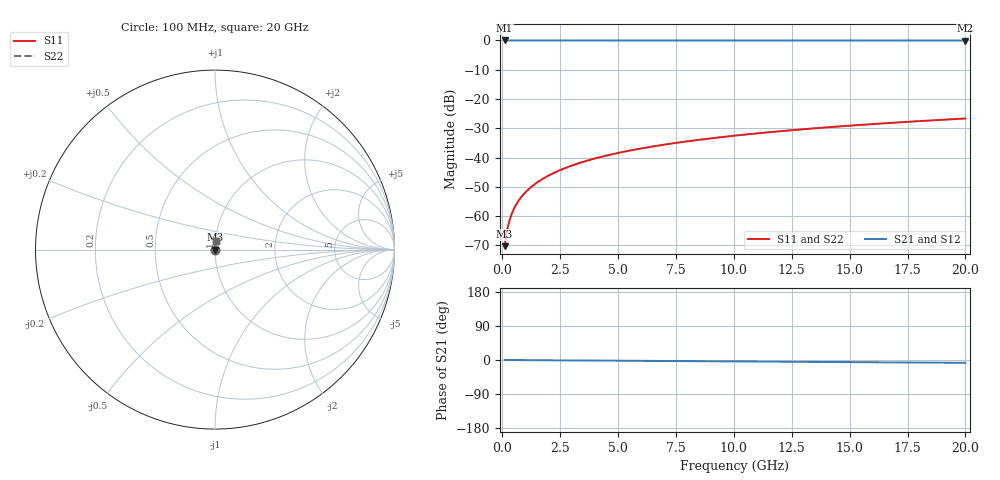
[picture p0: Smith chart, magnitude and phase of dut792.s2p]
! Touchstone file exported from HFSS 2026.1.0
!  File:  C:/ffzhzh/LocalFiles/Ansys_Project_Files/temp_train_TSV_792_1783183902_22436.aedt
!  Generated:  12:53:15 AM Jul  5, 2026
!  Design:  TSV
!  Project:  temp_train_TSV_792_1783183902_22436
! Variables:
!  h_bsmrdl = 2um
!  h_ox = 20um
!  h_rdl = 5um
!  h_sub = 64.49um
!  h_tmrdl = 5um
!  h_tsv = 64.49um
!  h_via = 3um
!  l_bsmrdl = 300um
!  l_sub = 416.02um
!  l_tmrdl = 200um
!  m_sub = 200um
!  pitch = 51.54um
!  r_tsv = 8.01um
!  s_tmrdl = 10um
!  w_bsmrdl = 18um
!  w_sub = 500um
!  w_tmrdl = 12um
!  x_tsv_center1 = 206um
!  x_tsv_center2 = 524um
!  x_tsv_center3 = 736um
!  x_tsv_center4 = 1054um
!  x_tsv_center5 = 1266um
!  x_tsv_center6 = 1584um
# GHz S MA R 50.000000
! Terminal data exported
! Port[1] = TSV1_1_T1
! Port[2] = TSV1_1_T2
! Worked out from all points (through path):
!   200 points, 100 MHz to 20 GHz, reference 50 ohm
!   highest |S21| = 0.00 dB at 100 MHz (marker M1); lowest = 0.0 dB at 20 GHz (marker M2)
!   group delay of S21, straight-line fit = 1.04 ps
!   lowest |S11| = -70.2 dB at 100 MHz (marker M3), VSWR 1.00, Z = 50 + j0.0269 ohm
!   |S11| at or under -10 dB: start of sweep to end of sweep
!   |S22| runs from -70.2 to -26.7 dB; largest |S21 - S12| = 2.7e-15
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0.1  0.0003076 60.9  0.9999 -0.0  0.9999 -0.0  0.0003076 60.9
! Gamma 0 0 0 0
! Port Impedance 50 0 50 0
0.2  0.0005587 73.5  0.9998 -0.1  0.9998 -0.1  0.0005587 73.5
0.3  0.0008177 77.8  0.9998 -0.1  0.9998 -0.1  0.0008177 77.8
0.4  0.001076 79.8  0.9998 -0.2  0.9998 -0.2  0.001076 79.8
0.5  0.00133 80.9  0.9998 -0.2  0.9998 -0.2  0.00133 80.9
0.6  0.001582 81.6  0.9998 -0.2  0.9998 -0.2  0.001582 81.6
0.7  0.00183 82.1  0.9998 -0.3  0.9998 -0.3  0.00183 82.1
0.8  0.002075 82.4  0.9997 -0.3  0.9997 -0.3  0.002075 82.4
1  0.002559 83.0  0.9997 -0.4  0.9997 -0.4  0.002559 83.0
1.4  0.003515 83.8  0.9996 -0.5  0.9996 -0.5  0.003515 83.8
1.7  0.004227 84.3  0.9996 -0.7  0.9996 -0.7  0.004227 84.3
2  0.004939 84.6  0.9996 -0.8  0.9996 -0.8  0.004939 84.6
2.7  0.006596 85.0  0.9995 -1.0  0.9995 -1.0  0.006596 85.0
3.5  0.008485 85.2  0.9995 -1.3  0.9995 -1.3  0.008485 85.2
4.2  0.01013 85.3  0.9994 -1.6  0.9994 -1.6  0.01013 85.3
5  0.01201 85.2  0.9993 -1.9  0.9993 -1.9  0.01201 85.2
6.8  0.0162 84.9  0.9992 -2.6  0.9992 -2.6  0.0162 84.9
8.3  0.01968 84.6  0.999 -3.1  0.999 -3.1  0.01968 84.6
10.1  0.02384 84.1  0.9988 -3.8  0.9988 -3.8  0.02384 84.1
13.4  0.03143 83.2  0.9985 -5.0  0.9985 -5.0  0.03143 83.2
16.7  0.03898 82.1  0.9981 -6.3  0.9981 -6.3  0.03898 82.1
20  0.04648 81.0  0.9977 -7.5  0.9977 -7.5  0.04648 81.0
